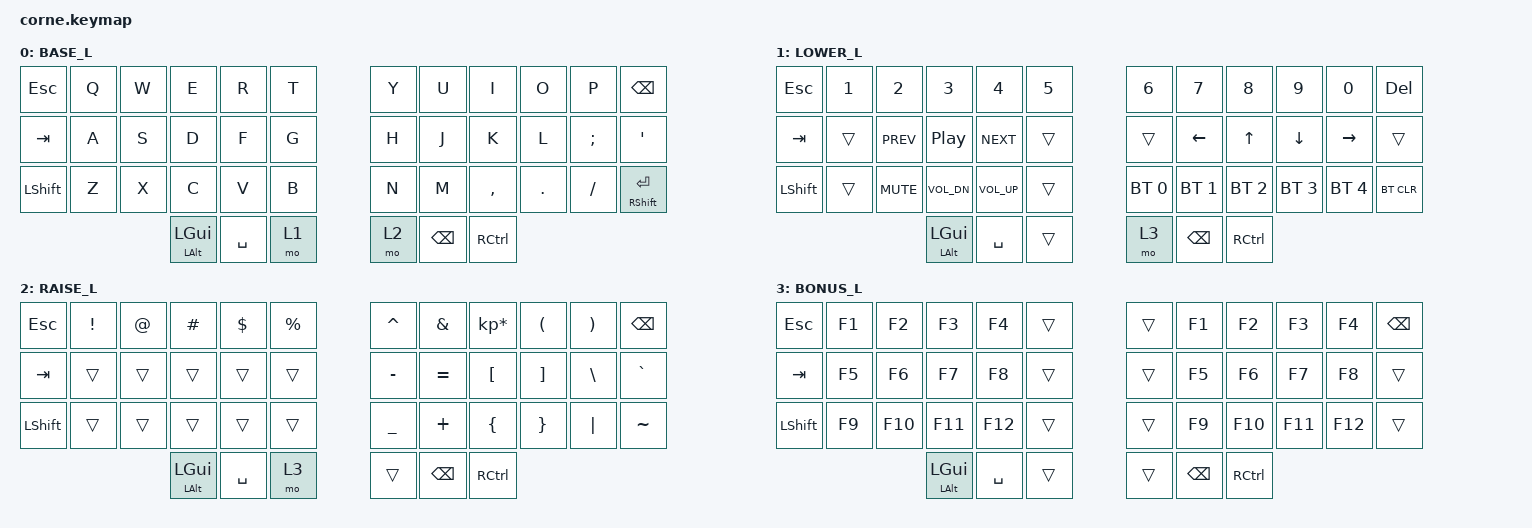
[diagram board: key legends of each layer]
/*
 * Copyright (c) 2020 The ZMK Contributors
 *
 * SPDX-License-Identifier: MIT
 */

#include <behaviors.dtsi>
#include <dt-bindings/zmk/keys.h>
#include <dt-bindings/zmk/bt.h>

#define BASE_L  0
#define LOWER_L 1
#define RAISE_L 2
#define BONUS_L 3

/ {
        keymap {
                compatible = "zmk,keymap";

                default_layer {
					label = "BASE_L";
// -----------------------------------------------------------------------------------------
// |  ESC |  Q  |  W  |  E  |  R  |  T  |   |  Y  |  U   |  I  |  O  |  P  | BSPC |
// |  TAB |  A  |  S  |  D  |  F  |  G  |   |  H  |  J   |  K  |  L  |  ;  |  '   |
// | SHFT |  Z  |  X  |  C  |  V  |  B  |   |  N  |  M   |  ,  |  .  |  /  | SHFT/ENTR  |
//                 |CTRL/GUI| LWR | SPC |   | BSPC | RSE  | ALT |
                        bindings = <
   &kp ESC   &kp Q &kp W &kp E &kp R &kp T   &kp Y &kp U  &kp I     &kp O   &kp P    &kp BSPC
   &kp TAB   &kp A &kp S &kp D &kp F &kp G   &kp H &kp J  &kp K     &kp L   &kp SEMI &kp SQT
   &kp LSHFT &kp Z &kp X &kp C &kp V &kp B   &kp N &kp M  &kp COMMA &kp DOT &kp FSLH &mt RSHIFT RET
            &mt LALT LGUI &kp SPACE &mo 1   &mo 2 &kp BSPC &kp RCTRL
                        >;
                };
                lower_layer {
					label = "LOWER_L";
// -----------------------------------------------------------------------------------------
// |  ESC |  1  |  2  |  3    |  4   |  5  |   |  6  |  7  |  8  |  9  |  0  |  DEL |
// |  TAB |     | PREV| PLAY  | NEXT |     |   |     | LFT | UP  | DWN | RGT |      |      
// | SHFT |     | MUTE|VOL DWN|VOL UP|     |   | BT1 | BT2 | BT3 | BT4 | BT5 | BTCLR|
//                     |CTRL/GUI|    | SPC |   | BSPC | BNS_L | ALT |
                        bindings = <
   &kp ESC   &kp N1 &kp N2     &kp N3       &kp N4       &kp N5    &kp N6       &kp N7       &kp N8       &kp N9       &kp N0       &kp DEL
   &kp TAB   &trans &kp C_PREV &kp C_PP     &kp C_NEXT   &trans    &trans       &kp LEFT     &kp UP       &kp DOWN     &kp RIGHT    &trans
   &kp LSHFT &trans &kp C_MUTE &kp C_VOL_DN &kp C_VOL_UP &trans    &bt BT_SEL 0 &bt BT_SEL 1 &bt BT_SEL 2 &bt BT_SEL 3 &bt BT_SEL 4 &bt BT_CLR
                                &mt LALT LGUI &kp SPACE &trans    &mo 3 &kp BSPC &kp RCTRL
                        >;
                };

                raise_layer {
					label = "RAISE_L";
// -----------------------------------------------------------------------------------------
// |  ESC |  !  |  @  |  #  |  $  |  %  |   |  ^  |  &  |  *  |  (  |  )  | BKSP |
// |  TAB |     |     |     |     |     |   |  -  |  =  |  [  |  ]  |  \  |  `   |
// | SHFT |     |     |     |     |     |   |  _  |  +  |  {  |  }  | "|" |  ~   |
//               |CTRL/GUI| BNS_L | SPC |   | BSPC |    | ALT |
                        bindings = <
   &kp ESC   &kp EXCL &kp AT &kp HASH &kp DLLR &kp PRCNT   &kp CARET &kp AMPS  &kp KP_MULTIPLY &kp LPAR &kp RPAR &kp BSPC
   &kp TAB   &trans   &trans &trans   &trans   &trans      &kp MINUS &kp EQUAL &kp LBKT        &kp RBKT &kp BSLH &kp GRAVE
   &kp LSHFT &trans   &trans &trans   &trans   &trans      &kp UNDER &kp PLUS  &kp LBRC        &kp RBRC &kp PIPE &kp TILDE
                      &mt LALT LGUI &kp SPACE &mo 3       &trans &kp BSPC &kp RCTRL
                        >;
                };
				
				bonus_layer {
					label = "BONUS_L";
// -----------------------------------------------------------------------------------------
// |  TAB |    |  F1  |  F2  |  F3  |  F4  |   |    |  F1  |  F2  |  F3  |  F4  | BKSP |
// | CTRL |    |  F5  |  F6  |  F7  |  F8  |   |    |  F5  |  F6  |  F7  |  F8  |      |
// | SHFT |    |  F9  |  F10 |  F11 |  F12 |   |    |  F9  |  F10 |  F11 |  F12 |      |
//                     |CTRL/GUI|    | SPC |   | BSPC |    | ALT |
                        bindings = <
   &kp ESC   &kp F1 &kp F2  &kp F3  &kp F4    &trans   &trans  &kp F1 &kp F2  &kp F3  &kp F4  &kp BSPC
   &kp TAB   &kp F5 &kp F6  &kp F7  &kp F8    &trans   &trans  &kp F5 &kp F6  &kp F7  &kp F8  &trans
   &kp LSHFT &kp F9 &kp F10 &kp F11 &kp F12   &trans   &trans  &kp F9 &kp F10 &kp F11 &kp F12 &trans
                     &mt LALT LGUI &kp SPACE &trans   &trans &kp BSPC &kp RCTRL
                        >;
                };
        };
};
